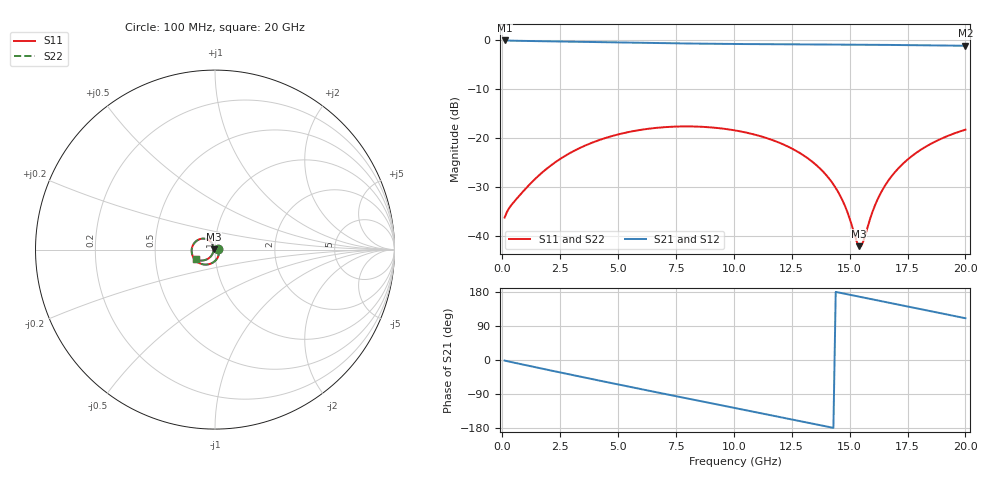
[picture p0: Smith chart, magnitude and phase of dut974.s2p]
! Touchstone file exported from HFSS 2026.1.0
!  File:  C:/ffzhzh/LocalFiles/Ansys_Project_Files/temp_train_TSV_RDL_974_1783286283_5512.aedt
!  Generated:  05:26:03 AM Jul  6, 2026
!  Design:  TSV_RDL
!  Project:  temp_train_TSV_RDL_974_1783286283_5512
! Variables:
!  h_bsmrdl = 5.82um
!  h_ox = 20um
!  h_rdl = 5um
!  h_sub = 79.63um
!  h_tmrdl = 2.08um
!  h_tsv = 79.63um
!  h_via = 3um
!  l_bsmrdl = 877.74um
!  l_sub = 4242.66um
!  l_tmrdl = 260.21um
!  m_sub = 200um
!  pitch = 31.66um
!  r_tsv = 8.1um
!  s_tmrdl = 10um
!  w_bsmrdl = 27.9um
!  w_sub = 500um
!  w_tmrdl = 28.3um
!  x_tsv_center1 = 274.36um
!  x_tsv_center2 = 1180um
!  x_tsv_center3 = 1468.51um
!  x_tsv_center4 = 2374.15um
!  x_tsv_center5 = 2662.66um
!  x_tsv_center6 = 3568.3um
# GHz S MA R 50.000000
! Terminal data exported
! Port[1] = TM_RDL1_1_T1
! Port[2] = TM_RDL5_1_T1
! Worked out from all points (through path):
!   200 points, 100 MHz to 20 GHz, reference 50 ohm
!   highest |S21| = -0.13 dB at 100 MHz (marker M1); lowest = -1.2 dB at 20 GHz (marker M2)
!   group delay of S21, straight-line fit = 34.4 ps
!   lowest |S11| = -42.2 dB at 15.4 GHz (marker M3), VSWR 1.02, Z = 49.2 + j0.162 ohm
!   |S11| at or under -10 dB: start of sweep to end of sweep
!   |S22| runs from -42.2 to -17.7 dB; largest |S21 - S12| = 2.5e-14
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0.1  0.01528 3.6  0.9848 -1.5  0.9848 -1.5  0.01528 3.6
! Gamma 0 0 0 0
! Port Impedance 50 0 50 0
0.4  0.02063 -12.5  0.9795 -5.6  0.9795 -5.6  0.02063 -12.5
1.6  0.04157 -64.6  0.9684 -21.3  0.9684 -21.3  0.04157 -64.6
3.5  0.08155 -106.7  0.952 -45.6  0.952 -45.6  0.08156 -106.7
5.2  0.1108 -134.2  0.9373 -67.0  0.9373 -67.0  0.1108 -134.2
6.8  0.1269 -157.3  0.9247 -86.9  0.9247 -86.9  0.127 -157.3
8.4  0.1299 -178.9  0.9143 -106.6  0.9143 -106.6  0.13 -179.0
10.1  0.1182 159.2  0.9061 -127.4  0.9061 -127.4  0.1182 159.2
12  0.08813 136.1  0.9 -150.7  0.9 -150.7  0.08822 136.1
13.4  0.05655 121.1  0.8966 -167.9  0.8966 -167.9  0.05665 121.0
14  0.04123 116.4  0.8952 -175.4  0.8952 -175.4  0.04132 116.2
14.5  0.02799 115.3  0.894 178.4  0.894 178.4  0.02807 115.0
14.9  0.01747 120.3  0.8929 173.5  0.8929 173.5  0.01754 119.9
15.4  0.007795 167.8  0.8914 167.3  0.8914 167.3  0.007736 166.8
15.5  0.007822 -172.1  0.891 166.0  0.891 166.0  0.007722 -172.9
15.6  0.008854 -154.7  0.8907 164.8  0.8907 164.8  0.008731 -155.1
15.9  0.01522 -128.6  0.8897 161.1  0.8897 161.1  0.01509 -128.6
16.2  0.0232 -121.5  0.8886 157.3  0.8886 157.3  0.02308 -121.4
16.7  0.03723 -120.4  0.8866 151.1  0.8866 151.1  0.03711 -120.3
17.3  0.05414 -124.2  0.8839 143.6  0.8839 143.6  0.05403 -124.2
18  0.0733 -130.8  0.8804 135.0  0.8804 135.0  0.07321 -130.8
20  0.1207 -153.1  0.8688 110.2  0.8688 110.2  0.1206 -153.2
